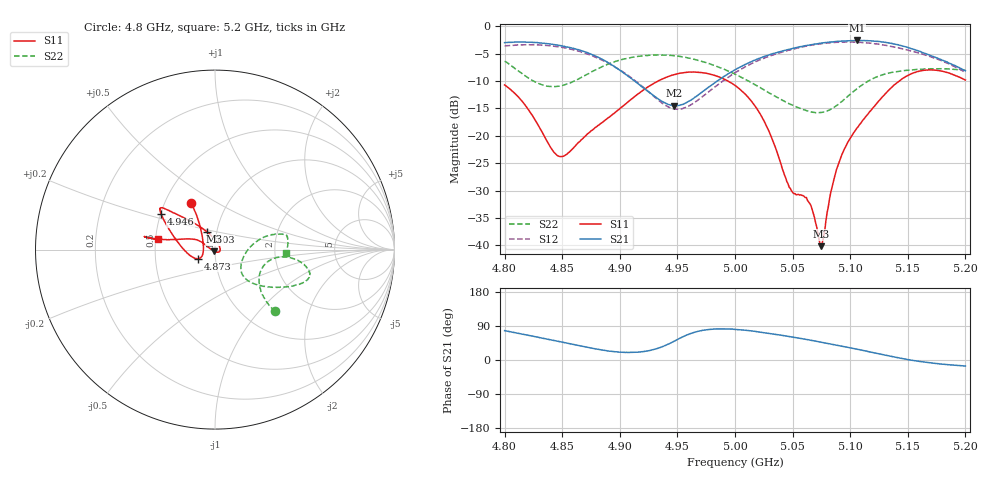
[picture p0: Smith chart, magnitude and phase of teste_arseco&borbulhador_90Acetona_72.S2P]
! Network Analyzer HP8722D
! Hewlett-Packard
! Data name: Linha & Wilkinson
! Saver's name: Rodrigo Anjos
! Comments: Teste da utilização de aquisição
! continua pelo VNA HP8722D
! Time and date: 17/4/2025 11:39
!  Frequency  S11  S21  S12  S22
# HZ  S  MA R 50
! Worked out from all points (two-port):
!   401 points, 4.8 GHz to 5.2 GHz, reference 50 ohm
!   highest |S21| = -2.58 dB at 5.106 GHz (marker M1); lowest = -14.5 dB at 4.947 GHz (marker M2)
!   |S21| within 3 dB of the highest: start of sweep to 4.881 GHz; 5.024 GHz to 5.173 GHz (148.3 MHz wide, 2.91 % of centre)
!   lowest |S11| = -40.2 dB at 5.075 GHz (marker M3), VSWR 1.02, Z = 49.6 - j0.871 ohm
!   |S11| at or under -10 dB: start of sweep to 4.933 GHz; 4.994 GHz to 5.142 GHz (148.5 MHz wide, 2.93 % of centre)
!   |S22| runs from -15.8 to -5.2 dB; largest |S21 - S12| = 1
!   S11 on the Smith chart (normalised r, x): 4.8 GHz: 0.68, +0.38; 4.873 GHz: 0.83, -0.08; 4.946 GHz: 0.50, +0.23; 5.03 GHz: 0.90, +0.18; 5.2 GHz: 0.51, +0.07
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4.8e9  0.2916 117.2  0.7097 77.5  0.6628 -16.1  0.4801 -45.7
4.818e9  0.1896 119.7  0.7184 66.7  0.6797 -23.8  0.3528 -42.6
4.845e9  0.06712 163.6  0.6768 50.3  0.6541 -36.8  0.2827 -21.4
4.852e9  0.06575 -172.4  0.6561 45.9  0.6363 -40.2  0.2926 -15.7
4.867e9  0.09284 -150.5  0.5976 36.6  0.58 -47.9  0.3435 -7.5
4.873e9  0.1062 -151.5  0.5673 32.6  0.5526 -51.1  0.3701 -6.3
4.901e9  0.1807 177.6  0.3906 20.7  0.3926 -62.7  0.4944 -9.0
4.934e9  0.3197 151.1  0.2146 31.8  0.2101 -55.9  0.5471 -15.8
4.946e9  0.3593 146.6  0.1888 47.7  0.1771 -39.7  0.54 -18.4
4.947e9  0.3621 146.4  0.1881 49.4  0.1761 -38.0  0.5393 -18.6
4.975e9  0.3729 141.4  0.2681 79.7  0.2427 -2.4  0.4662 -26.3
5e9  0.2888 137.2  0.401 80.7  0.3771 3.4  0.365 -34.6
5.017e9  0.19 128.4  0.4897 75.6  0.4685 0.3  0.2946 -40.8
5.03e9  0.107 113.8  0.5501 70.0  0.5332 -3.8  0.2448 -43.4
5.048e9  0.03309 45.9  0.6207 61.5  0.6095 -10.9  0.1941 -40.6
5.067e9  0.02123 -42.1  0.6819 51.5  0.6754 -20.1  0.1642 -26.6
5.075e9  0.009821 -116.6  0.7041 46.9  0.6936 -24.6  0.1635 -16.2
5.089e9  0.05227 155.5  0.7284 38.7  0.7144 -33.3  0.1919 2.4
5.106e9  0.1182 152.2  0.7429 28.3  0.7155 -44.2  0.2694 13.7
5.134e9  0.2644 167.8  0.7036 10.7  0.6599 -61.2  0.3754 13.3
5.164e9  0.397 169.8  0.571 -5.5  0.5524 -74.9  0.4078 11.1
5.2e9  0.3232 169.4  0.3932 -15.9  0.3778 -84.4  0.3951 -2.4
